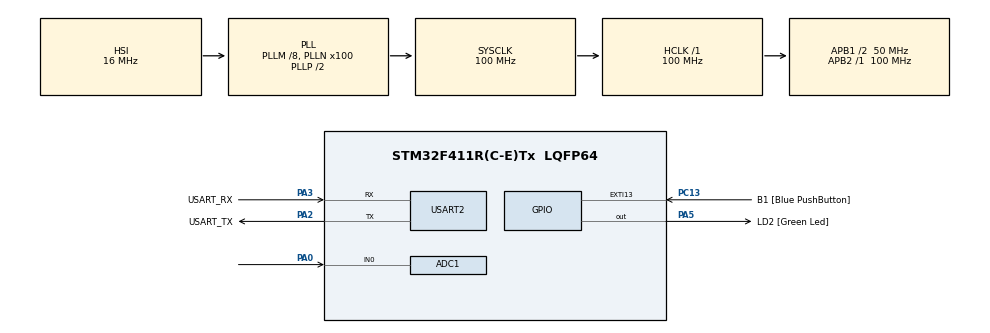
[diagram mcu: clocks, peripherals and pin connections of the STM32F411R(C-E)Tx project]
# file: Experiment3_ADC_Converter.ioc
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ADC1.Channel-0\#ChannelRegularConversion=ADC_CHANNEL_0
ADC1.NbrOfConversionFlag=1
ADC1.Rank-0\#ChannelRegularConversion=1
ADC1.SamplingTime-0\#ChannelRegularConversion=ADC_SAMPLETIME_3CYCLES
ADC1.master=1
Mcu.Family=STM32F4
Mcu.Name=STM32F411R(C-E)Tx
Mcu.Package=LQFP64
NVIC.PriorityGroup=NVIC_PRIORITYGROUP_0
PA0-WKUP.Signal=ADCx_IN0
PA13.GPIO_Label=TMS
PA13.Mode=Serial_Wire
PA13.Signal=SYS_JTMS-SWDIO
PA14.GPIO_Label=TCK
PA14.Mode=Serial_Wire
PA14.Signal=SYS_JTCK-SWCLK
PA2.GPIO_Label=USART_TX
PA2.Mode=Asynchronous
PA2.Signal=USART2_TX
PA3.GPIO_Label=USART_RX
PA3.Mode=Asynchronous
PA3.Signal=USART2_RX
PA5.GPIO_Label=LD2 [Green Led]
PA5.Signal=GPIO_Output
PB3.GPIO_Label=SWO
PB3.Signal=SYS_JTDO-SWO
PC13-ANTI_TAMP.GPIO_Label=B1 [Blue PushButton]
PC13-ANTI_TAMP.GPIO_ModeDefaultEXTI=GPIO_MODE_IT_FALLING
PC13-ANTI_TAMP.Signal=GPXTI13
PC14-OSC32_IN.Mode=LSE-External-Oscillator
PC14-OSC32_IN.Signal=RCC_OSC32_IN
PC15-OSC32_OUT.Mode=LSE-External-Oscillator
PC15-OSC32_OUT.Signal=RCC_OSC32_OUT
PH0\ -\ OSC_IN.Mode=HSE-External-Clock-Source
PH0\ -\ OSC_IN.Signal=RCC_OSC_IN
PH1\ -\ OSC_OUT.Mode=HSE-External-Clock-Source
PH1\ -\ OSC_OUT.Signal=RCC_OSC_OUT
ProjectManager.HeapSize=0x200
ProjectManager.StackSize=0x400
ProjectManager.TargetToolchain=STM32CubeIDE
RCC.48MHZClocksFreq_Value=50000000
RCC.AHBFreq_Value=100000000
RCC.APB1CLKDivider=RCC_HCLK_DIV2
RCC.APB1Freq_Value=50000000
RCC.APB1TimFreq_Value=100000000
RCC.APB2Freq_Value=100000000
RCC.APB2TimFreq_Value=100000000
RCC.CortexFreq_Value=100000000
RCC.FLatency-AdvancedSettings=FLASH_LATENCY_3
RCC.HCLKFreq_Value=100000000
RCC.HSE_VALUE=8000000
RCC.HSI_VALUE=16000000
RCC.PLLM=8
RCC.PLLN=100
RCC.SYSCLKFreq_VALUE=100000000
RCC.SYSCLKSource=RCC_SYSCLKSOURCE_PLLCLK
RCC.VCOOutputFreq_Value=200000000
SH.ADCx_IN0.0=ADC1_IN0,IN0
USART2.VirtualMode=VM_ASYNC
VP_ADC1_TempSens_Input.Mode=IN-TempSens
board=NUCLEO-F411RE

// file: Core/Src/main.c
/* USER CODE BEGIN Header */
/**
  ******************************************************************************
  * @file           : main.c
  * @brief          : Main program body
  ******************************************************************************
  * @attention
  *
  * Copyright (c) 2022 STMicroelectronics.
  * All rights reserved.
  *
  * This software is licensed under terms that can be found in the LICENSE file
  * in the root directory of this software component.
  * If no LICENSE file comes with this software, it is provided AS-IS.
  *
  ******************************************************************************
  */
/* USER CODE END Header */
#include "main.h"

ADC_HandleTypeDef hadc1;

UART_HandleTypeDef huart2;

/* USER CODE BEGIN PV */

float ADCOutputConverted = 0.0;
uint16_t ADCmode = 0;
uint16_t ADCDataRaw = 0;
uint16_t ADCTempData = 0;
int count=0;
float ADCtoVolatage = 0.0;

/* USER CODE END PV */

void SystemClock_Config(void);
static void MX_GPIO_Init(void);
static void MX_USART2_UART_Init(void);
static void MX_ADC1_Init(void);
/* USER CODE BEGIN PFP */

void ADCVoltage();
void ADCTempingMethodUpdate();

/* USER CODE END PFP */

int main(void)
{

  /* MCU Configuration--------------------------------------------------------*/

  /* Reset of all peripherals, Initializes the Flash interface and the Systick. */
  HAL_Init();

  /* Configure the system clock */
  SystemClock_Config();

  /* Initialize all configured peripherals */
  MX_GPIO_Init();
  MX_USART2_UART_Init();
  MX_ADC1_Init();

  /* Infinite loop */
  while (1)
  {

    /* USER CODE BEGIN 3 */
	  // Function Call ADC
//	  ADCPollingMethodUpdate();
//	  ADCTempingMethodUpdate();

	  // Function select for Temp / PA0 with Pin PC13
	  static GPIO_PinState B1state[2] = {0}; // create value to collect it(GPIO_PinState) // ADCmode[2] = remember the state first round and don't toggle it again
	  B1state[0] = HAL_GPIO_ReadPin(GPIOC, GPIO_PIN_13); // real state
	  if(B1state[1] == GPIO_PIN_SET && B1state[0] == GPIO_PIN_RESET )//state before are high and next state are low = the button have pushed already(falling-edge detected)
	  {
		  if (count%2 == 0){
			  ADCmode = 1;			// count with odd number
		  }
		  else if (count%2 == 1){
			  ADCmode = 0;			// count with even number
		  }
		  count++;
	  }
	  B1state[1] = B1state[0];

	  if (ADCmode == 0){
		  ADCVoltage();
	  }
	  else if (ADCmode == 1){
		  ADCTempingMethodUpdate();
	  }

  }
  /* USER CODE END 3 */
}

void SystemClock_Config(void)
{
  RCC_OscInitTypeDef RCC_OscInitStruct = {0};
  RCC_ClkInitTypeDef RCC_ClkInitStruct = {0};

  /** Configure the main internal regulator output voltage
  */
  __HAL_RCC_PWR_CLK_ENABLE();
  __HAL_PWR_VOLTAGESCALING_CONFIG(PWR_REGULATOR_VOLTAGE_SCALE1);
  /** Initializes the RCC Oscillators according to the specified parameters
  * in the RCC_OscInitTypeDef structure.
  */
  RCC_OscInitStruct.OscillatorType = RCC_OSCILLATORTYPE_HSI;
  RCC_OscInitStruct.HSIState = RCC_HSI_ON;
  RCC_OscInitStruct.HSICalibrationValue = RCC_HSICALIBRATION_DEFAULT;
  RCC_OscInitStruct.PLL.PLLState = RCC_PLL_ON;
  RCC_OscInitStruct.PLL.PLLSource = RCC_PLLSOURCE_HSI;
  RCC_OscInitStruct.PLL.PLLM = 8;
  RCC_OscInitStruct.PLL.PLLN = 100;
  RCC_OscInitStruct.PLL.PLLP = RCC_PLLP_DIV2;
  RCC_OscInitStruct.PLL.PLLQ = 4;
  if (HAL_RCC_OscConfig(&RCC_OscInitStruct) != HAL_OK)
  {
    Error_Handler();
  }
  /** Initializes the CPU, AHB and APB buses clocks
  */
  RCC_ClkInitStruct.ClockType = RCC_CLOCKTYPE_HCLK|RCC_CLOCKTYPE_SYSCLK
                              |RCC_CLOCKTYPE_PCLK1|RCC_CLOCKTYPE_PCLK2;
  RCC_ClkInitStruct.SYSCLKSource = RCC_SYSCLKSOURCE_PLLCLK;
  RCC_ClkInitStruct.AHBCLKDivider = RCC_SYSCLK_DIV1;
  RCC_ClkInitStruct.APB1CLKDivider = RCC_HCLK_DIV2;
  RCC_ClkInitStruct.APB2CLKDivider = RCC_HCLK_DIV1;

  if (HAL_RCC_ClockConfig(&RCC_ClkInitStruct, FLASH_LATENCY_3) != HAL_OK)
  {
    Error_Handler();
  }
}

static void MX_ADC1_Init(void)
{

  ADC_ChannelConfTypeDef sConfig = {0};

  /** Configure the global features of the ADC (Clock, Resolution, Data Alignment and number of conversion)
  */
  hadc1.Instance = ADC1;
  hadc1.Init.ClockPrescaler = ADC_CLOCK_SYNC_PCLK_DIV4;
  hadc1.Init.Resolution = ADC_RESOLUTION_12B;
  hadc1.Init.ScanConvMode = DISABLE;
  hadc1.Init.ContinuousConvMode = DISABLE;
  hadc1.Init.DiscontinuousConvMode = DISABLE;
  hadc1.Init.ExternalTrigConvEdge = ADC_EXTERNALTRIGCONVEDGE_NONE;
  hadc1.Init.ExternalTrigConv = ADC_SOFTWARE_START;
  hadc1.Init.DataAlign = ADC_DATAALIGN_RIGHT;
  hadc1.Init.NbrOfConversion = 1;
  hadc1.Init.DMAContinuousRequests = DISABLE;
  hadc1.Init.EOCSelection = ADC_EOC_SINGLE_CONV;
  if (HAL_ADC_Init(&hadc1) != HAL_OK)
  {
    Error_Handler();
  }
  /** Configure for the selected ADC regular channel its corresponding rank in the sequencer and its sample time.
  */
  sConfig.Channel = ADC_CHANNEL_0;
  sConfig.Rank = 1;
  sConfig.SamplingTime = ADC_SAMPLETIME_3CYCLES;
  if (HAL_ADC_ConfigChannel(&hadc1, &sConfig) != HAL_OK)
  {
    Error_Handler();
  }

}

static void MX_USART2_UART_Init(void)
{

  huart2.Instance = USART2;
  huart2.Init.BaudRate = 115200;
  huart2.Init.WordLength = UART_WORDLENGTH_8B;
  huart2.Init.StopBits = UART_STOPBITS_1;
  huart2.Init.Parity = UART_PARITY_NONE;
  huart2.Init.Mode = UART_MODE_TX_RX;
  huart2.Init.HwFlowCtl = UART_HWCONTROL_NONE;
  huart2.Init.OverSampling = UART_OVERSAMPLING_16;
  if (HAL_UART_Init(&huart2) != HAL_OK)
  {
    Error_Handler();
  }

}

static void MX_GPIO_Init(void)
{
  GPIO_InitTypeDef GPIO_InitStruct = {0};

  /* GPIO Ports Clock Enable */
  __HAL_RCC_GPIOC_CLK_ENABLE();
  __HAL_RCC_GPIOH_CLK_ENABLE();
  __HAL_RCC_GPIOA_CLK_ENABLE();
  __HAL_RCC_GPIOB_CLK_ENABLE();

  /*Configure GPIO pin Output Level */
  HAL_GPIO_WritePin(LD2_GPIO_Port, LD2_Pin, GPIO_PIN_RESET);

  /*Configure GPIO pin : B1_Pin */
  GPIO_InitStruct.Pin = B1_Pin;
  GPIO_InitStruct.Mode = GPIO_MODE_IT_FALLING;
  GPIO_InitStruct.Pull = GPIO_NOPULL;
  HAL_GPIO_Init(B1_GPIO_Port, &GPIO_InitStruct);

  /*Configure GPIO pin : LD2_Pin */
  GPIO_InitStruct.Pin = LD2_Pin;
  GPIO_InitStruct.Mode = GPIO_MODE_OUTPUT_PP;
  GPIO_InitStruct.Pull = GPIO_NOPULL;
  GPIO_InitStruct.Speed = GPIO_SPEED_FREQ_LOW;
  HAL_GPIO_Init(LD2_GPIO_Port, &GPIO_InitStruct);

}

/* USER CODE BEGIN 4 */

void ADCTempingMethodUpdate(){
	static ADC_ChannelConfTypeDef useforTemp;
	useforTemp.Channel = ADC_CHANNEL_TEMPSENSOR;
	useforTemp.Rank = 1;
	useforTemp.SamplingTime = ADC_SAMPLETIME_15CYCLES;
	//setting channel of ADC
	HAL_ADC_ConfigChannel(&hadc1, &useforTemp);

	//start Sampling = request for sensor value
	HAL_ADC_Start(&hadc1);

	//Wait for sampling and conversion (Timeout = run to that time and end it)
	HAL_ADC_PollForConversion(&hadc1, 10);

	//Read data
	ADCTempData = HAL_ADC_GetValue(&hadc1);
	ADCOutputConverted = HAL_ADC_GetValue(&hadc1); // open after toggle switch finish

	//stop ADC
	HAL_ADC_Stop(&hadc1);
}

void ADCVoltage(){

	static ADC_ChannelConfTypeDef useforADC;
	useforADC.Channel = ADC_CHANNEL_0;
	useforADC.Rank = 1;
	useforADC.SamplingTime = ADC_SAMPLETIME_15CYCLES;

	//setting channel of ADC
	HAL_ADC_ConfigChannel(&hadc1, &useforADC);

	//start Sampling = request for sensor value
	HAL_ADC_Start(&hadc1);

	//Wait for sampling and conversion (Timeout = run to that time and end it)
	HAL_ADC_PollForConversion(&hadc1, 10);

	//Read data
	ADCDataRaw = HAL_ADC_GetValue(&hadc1);
	ADCtoVolatage = HAL_ADC_GetValue(&hadc1); // open after toggle switch finish

	//stop ADC
	HAL_ADC_Stop(&hadc1);

	ADCOutputConverted = ((ADCtoVolatage)/4095 * 3.3)*10*10*10 ;

}

/* USER CODE END 4 */

void Error_Handler(void)
{
  __disable_irq();
  while (1)
  {
  }
}
